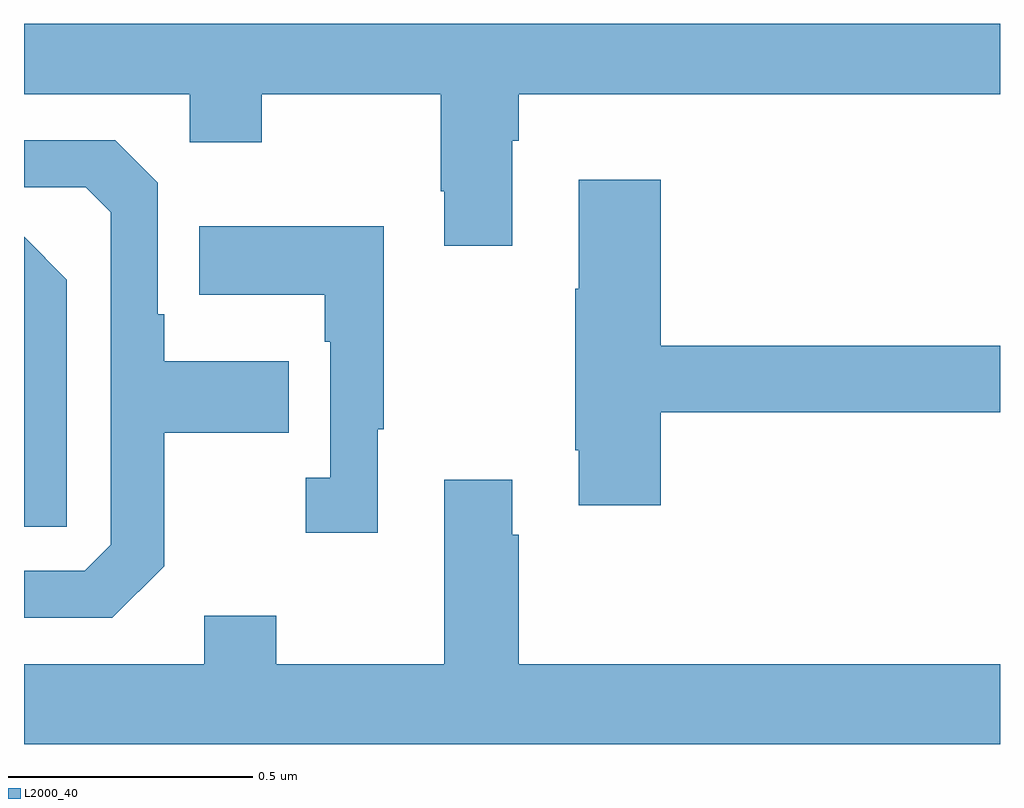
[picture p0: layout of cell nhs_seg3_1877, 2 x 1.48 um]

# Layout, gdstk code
import gdstk
lib = gdstk.Library(unit=1e-6, precision=1e-09)
def P(c, l, *ps):  # polygons
    for p in ps: c.add(gdstk.Polygon(p, *l))
L2000_40 = (2000, 40)

nhs_seg3_1877 = lib.new_cell('nhs_seg3_1877')
P(nhs_seg3_1877, L2000_40, [(135.001,694.16),(135.014,694.16),(135.014,694.256),(136,694.256),(136,694.4),(134,694.4),(134,694.256),(134.34,694.256),(134.34,694.157),(134.487,694.157),(134.487,694.256),(134.854,694.256),(134.854,694.057),(134.861,694.057),(134.861,693.945),(135.001,693.945)],
  [(134.287,693.289),(134.287,693.562),(134.543,693.562),(134.543,693.709),(134.287,693.709),(134.287,693.805),(134.274,693.805),(134.274,694.074),(134.187,694.161),(134,694.161),(134,694.065),(134.127,694.065),(134.178,694.014),(134.178,693.333),(134.124,693.279),(134,693.279),(134,693.183),(134.181,693.183)],
  [(135.305,693.604),(136,693.604),(136,693.74),(135.305,693.74),(135.305,694.081),(135.137,694.081),(135.137,693.857),(135.13,693.857),(135.13,693.526),(135.137,693.526),(135.137,693.414),(135.305,693.414)],
  [(134.725,693.569),(134.737,693.569),(134.737,693.985),(134.359,693.985),(134.359,693.845),(134.616,693.845),(134.616,693.749),(134.628,693.749),(134.628,693.47),(134.577,693.47),(134.577,693.357),(134.725,693.357)],
  [(134.088,693.876),(134,693.964),(134,693.369),(134.088,693.369)],
  [(136,693.088),(135.014,693.088),(135.014,693.353),(135.001,693.353),(135.001,693.466),(134.861,693.466),(134.861,693.088),(134.517,693.088),(134.517,693.187),(134.369,693.187),(134.369,693.088),(134,693.088),(134,692.924),(136,692.924)])

lib.write_gds('nhs_seg3_1877.gds')
